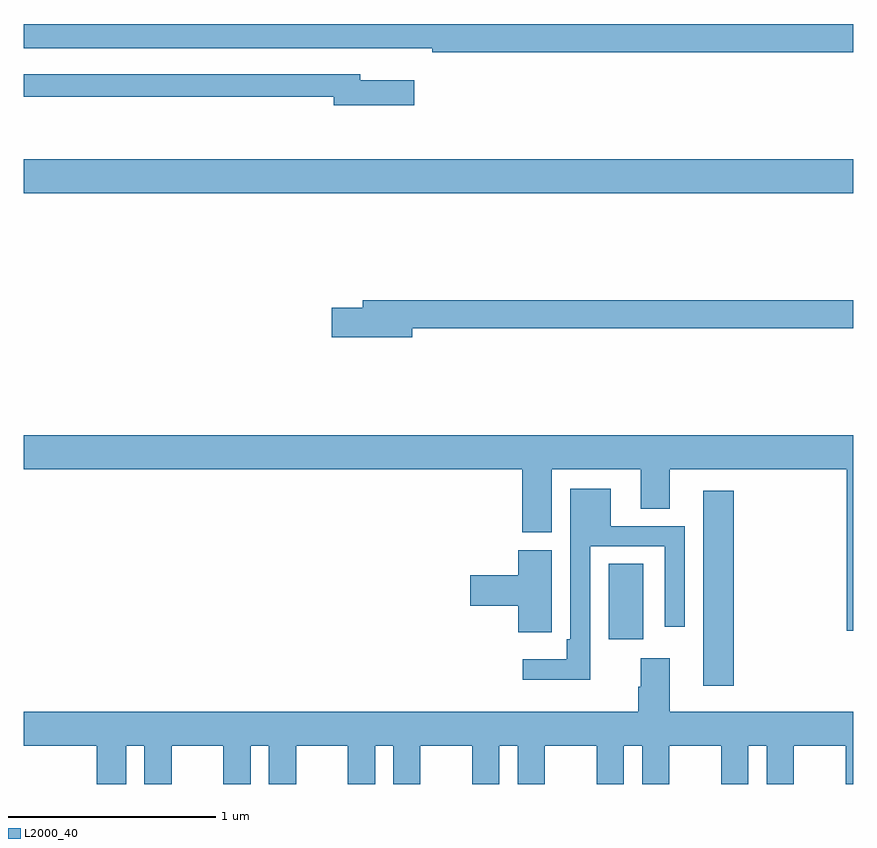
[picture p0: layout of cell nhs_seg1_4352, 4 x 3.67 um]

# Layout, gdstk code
import gdstk
lib = gdstk.Library(unit=1e-6, precision=1e-09)
def R(c, l, rs):  # rectangles x0, y0, x1, y1
    for r in rs: c.add(gdstk.rectangle(r[:2], r[2:], *l))
def P(c, l, *ps):  # polygons
    for p in ps: c.add(gdstk.Polygon(p, *l))
L2000_40 = (2000, 40)

nhs_seg1_4352 = lib.new_cell('nhs_seg1_4352')
R(nhs_seg1_4352, L2000_40, [(350.276,566.673,350.423,567.613), (349.82,566.898,349.987,567.26), (347,569.048,351,569.212)])
P(nhs_seg1_4352, L2000_40, [(351,569.864),(347,569.864),(347,569.748),(348.718,569.748),(348.718,569.747),(348.97,569.747),(348.97,569.728),(351,569.728)],
  [(348.883,569.593),(348.622,569.593),(348.622,569.622),(347,569.622),(347,569.514),(348.494,569.514),(348.494,569.471),(348.883,569.471)],
  [(348.874,568.396),(351,568.396),(351,568.532),(348.635,568.532),(348.635,568.496),(348.486,568.496),(348.486,568.354),(348.874,568.354)],
  [(351,567.88),(347,567.88),(347,567.716),(349.403,567.716),(349.403,567.412),(349.546,567.412),(349.546,567.716),(349.976,567.716),(349.976,567.526),(350.116,567.526),(350.116,567.716),(350.969,567.716),(350.969,566.937),(351,566.937)],
  [(349.731,567.345),(350.091,567.345),(350.091,566.958),(350.187,566.958),(350.187,567.441),(349.831,567.441),(349.831,567.622),(349.635,567.622),(349.635,566.896),(349.619,566.896),(349.619,566.8),(349.407,566.8),(349.407,566.702),(349.731,566.702)],
  [(349.545,567.043),(349.546,567.043),(349.546,567.327),(349.385,567.327),(349.385,567.206),(349.152,567.206),(349.152,567.059),(349.385,567.059),(349.385,566.931),(349.545,566.931)],
  [(347.494,566.384),(347.582,566.384),(347.582,566.199),(347.713,566.199),(347.713,566.384),(347.963,566.384),(347.963,566.199),(348.094,566.199),(348.094,566.384),(348.182,566.384),(348.182,566.199),(348.313,566.199),(348.313,566.384),(348.563,566.384),(348.563,566.199),(348.694,566.199),(348.694,566.384),(348.782,566.384),(348.782,566.199),(348.913,566.199),(348.913,566.384),(349.163,566.384),(349.163,566.199),(349.294,566.199),(349.294,566.384),(349.382,566.384),(349.382,566.199),(349.513,566.199),(349.513,566.384),(349.763,566.384),(349.763,566.199),(349.894,566.199),(349.894,566.384),(349.982,566.384),(349.982,566.199),(350.113,566.199),(350.113,566.384),(350.363,566.384),(350.363,566.199),(350.494,566.199),(350.494,566.384),(350.582,566.384),(350.582,566.199),(350.713,566.199),(350.713,566.384),(350.963,566.384),(350.963,566.199),(351,566.199),(351,566.548),(350.116,566.548),(350.116,566.806),(349.976,566.806),(349.976,566.669),(349.964,566.669),(349.964,566.548),(347,566.548),(347,566.384),(347.351,566.384),(347.351,566.199),(347.494,566.199)])

lib.write_gds('nhs_seg1_4352.gds')
